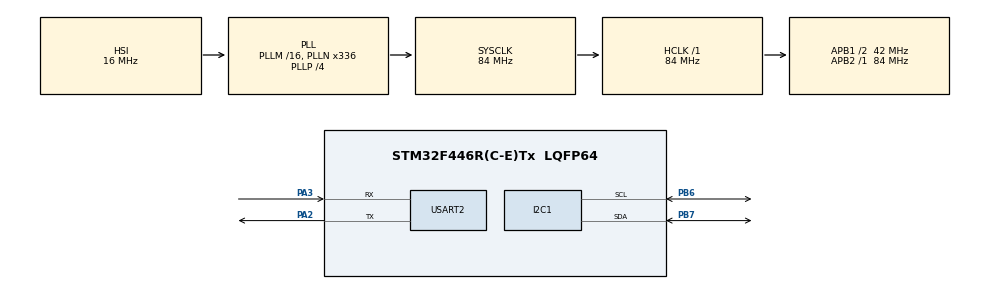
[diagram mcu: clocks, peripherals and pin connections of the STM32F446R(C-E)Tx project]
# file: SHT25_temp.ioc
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Mcu.Family=STM32F4
Mcu.Name=STM32F446R(C-E)Tx
Mcu.Package=LQFP64
NVIC.PriorityGroup=NVIC_PRIORITYGROUP_0
PA2.Mode=Asynchronous
PA2.Signal=USART2_TX
PA3.Mode=Asynchronous
PA3.Signal=USART2_RX
PB6.Mode=I2C
PB6.Signal=I2C1_SCL
PB7.Mode=I2C
PB7.Signal=I2C1_SDA
ProjectManager.HeapSize=0x200
ProjectManager.StackSize=0x400
ProjectManager.TargetToolchain=STM32CubeIDE
RCC.48MHZClocksFreq_Value=84000000
RCC.AHBFreq_Value=84000000
RCC.APB1CLKDivider=RCC_HCLK_DIV2
RCC.APB1Freq_Value=42000000
RCC.APB1TimFreq_Value=84000000
RCC.APB2Freq_Value=84000000
RCC.APB2TimFreq_Value=84000000
RCC.CortexFreq_Value=84000000
RCC.FLatency-AdvancedSettings=FLASH_LATENCY_2
RCC.HCLKFreq_Value=84000000
RCC.HSE_VALUE=8000000
RCC.HSI_VALUE=16000000
RCC.PLLN=336
RCC.PLLP=RCC_PLLP_DIV4
RCC.SYSCLKFreq_VALUE=84000000
RCC.SYSCLKSource=RCC_SYSCLKSOURCE_PLLCLK
RCC.USBFreq_Value=168000000
RCC.VCOOutputFreq_Value=336000000
USART2.VirtualMode=VM_ASYNC
board=NUCLEO-F446RE

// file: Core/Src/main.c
/* USER CODE BEGIN Header */
/**
  **************************
  * @file           : main.c
  * @brief          : Main program body
  **************************
  * @attention
  *
  * Copyright (c) 2024 STMicroelectronics.
  * All rights reserved.
  *
  * This software is licensed under terms that can be found in the LICENSE file
  * in the root directory of this software component.
  * If no LICENSE file comes with this software, it is provided AS-IS.
  *
  **************************
  */
/* USER CODE END Header */
#include "main.h"
#include <stdio.h>
#include <math.h>
/* USER CODE BEGIN Includes */
#define SHT25_I2C_ADDRESS (0x40 << 1)
#define SHT25_CMD_READ_TEMP_NOHOLD  0xF3
#define SHT25_CMD_READ_HUM_NOHOLD   0xF5
/* USER CODE END Includes */

/* USER CODE BEGIN PTD */
float read_temperature();
float read_humidity();
/* USER CODE END PTD */

I2C_HandleTypeDef hi2c1;

UART_HandleTypeDef huart2;

void SystemClock_Config(void);
static void MX_GPIO_Init(void);
static void MX_USART2_UART_Init(void);
static void MX_I2C1_Init(void);

int main(void)
{

  /* MCU Configuration--------------------------------------------------------*/

  /* Reset of all peripherals, Initializes the Flash interface and the Systick. */
  HAL_Init();

  /* Configure the system clock */
  SystemClock_Config();

  /* Initialize all configured peripherals */
  MX_GPIO_Init();
  MX_USART2_UART_Init();
  MX_I2C1_Init();
  /* USER CODE BEGIN 2 */
  setvbuf(stdout, NULL, _IOLBF, 0);  // Enable line buffering for stdout

  /* Infinite loop */

  /* USER CODE END 2 */

  /* Infinite loop */
  while (1)
  {

    /* USER CODE BEGIN 3 */
	  uint8_t cmd;
	        uint8_t data[2];
	        uint16_t raw_value;
	        float temperature, humidity;

	        // Read temperature
	        cmd = SHT25_CMD_READ_TEMP_NOHOLD;
	        HAL_I2C_Master_Transmit(&hi2c1, SHT25_I2C_ADDRESS, &cmd, 1, HAL_MAX_DELAY);
	        HAL_Delay(50); // Delay to allow sensor to perform the measurement
	        HAL_I2C_Master_Receive(&hi2c1, SHT25_I2C_ADDRESS, data, 2, HAL_MAX_DELAY);
	        raw_value = (data[0] << 8) | data[1];
	        temperature = -46.85 + 175.72 * (raw_value / 65536.0);

	        // Read humidity
	        cmd = SHT25_CMD_READ_HUM_NOHOLD;
	        HAL_I2C_Master_Transmit(&hi2c1, SHT25_I2C_ADDRESS, &cmd, 1, HAL_MAX_DELAY);
	        HAL_Delay(50); // Delay to allow sensor to perform the measurement
	        HAL_I2C_Master_Receive(&hi2c1, SHT25_I2C_ADDRESS, data, 2, HAL_MAX_DELAY);
	        raw_value = (data[0] << 8) | data[1];
	        humidity = -6.0 + 125.0 * (raw_value / 65536.0);

	        // Transmit the results over UART
	        char buffer[100];
	        sprintf(buffer, "Temperature: %.2f°C\r\n", temperature);
	        HAL_UART_Transmit(&huart2, (uint8_t*)buffer, strlen(buffer), 1000);
	        HAL_Delay(1000);  // Delay to allow readability

	        sprintf(buffer, "Humidity: %.2f%%\r\n", humidity);
	        HAL_UART_Transmit(&huart2, (uint8_t*)buffer, strlen(buffer), 1000);
	        HAL_Delay(1000);  // Delay to allow readability
  }
  /* USER CODE END 3 */
}

void SystemClock_Config(void)
{
  RCC_OscInitTypeDef RCC_OscInitStruct = {0};
  RCC_ClkInitTypeDef RCC_ClkInitStruct = {0};

  /** Configure the main internal regulator output voltage
  */
  __HAL_RCC_PWR_CLK_ENABLE();
  __HAL_PWR_VOLTAGESCALING_CONFIG(PWR_REGULATOR_VOLTAGE_SCALE3);

  /** Initializes the RCC Oscillators according to the specified parameters
  * in the RCC_OscInitTypeDef structure.
  */
  RCC_OscInitStruct.OscillatorType = RCC_OSCILLATORTYPE_HSI;
  RCC_OscInitStruct.HSIState = RCC_HSI_ON;
  RCC_OscInitStruct.HSICalibrationValue = RCC_HSICALIBRATION_DEFAULT;
  RCC_OscInitStruct.PLL.PLLState = RCC_PLL_ON;
  RCC_OscInitStruct.PLL.PLLSource = RCC_PLLSOURCE_HSI;
  RCC_OscInitStruct.PLL.PLLM = 16;
  RCC_OscInitStruct.PLL.PLLN = 336;
  RCC_OscInitStruct.PLL.PLLP = RCC_PLLP_DIV4;
  RCC_OscInitStruct.PLL.PLLQ = 2;
  RCC_OscInitStruct.PLL.PLLR = 2;
  if (HAL_RCC_OscConfig(&RCC_OscInitStruct) != HAL_OK)
  {
    Error_Handler();
  }

  /** Initializes the CPU, AHB and APB buses clocks
  */
  RCC_ClkInitStruct.ClockType = RCC_CLOCKTYPE_HCLK|RCC_CLOCKTYPE_SYSCLK
                              |RCC_CLOCKTYPE_PCLK1|RCC_CLOCKTYPE_PCLK2;
  RCC_ClkInitStruct.SYSCLKSource = RCC_SYSCLKSOURCE_PLLCLK;
  RCC_ClkInitStruct.AHBCLKDivider = RCC_SYSCLK_DIV1;
  RCC_ClkInitStruct.APB1CLKDivider = RCC_HCLK_DIV2;
  RCC_ClkInitStruct.APB2CLKDivider = RCC_HCLK_DIV1;

  if (HAL_RCC_ClockConfig(&RCC_ClkInitStruct, FLASH_LATENCY_2) != HAL_OK)
  {
    Error_Handler();
  }
}

static void MX_I2C1_Init(void)
{

  hi2c1.Instance = I2C1;
  hi2c1.Init.ClockSpeed = 100000;
  hi2c1.Init.DutyCycle = I2C_DUTYCYCLE_2;
  hi2c1.Init.OwnAddress1 = 0;
  hi2c1.Init.AddressingMode = I2C_ADDRESSINGMODE_7BIT;
  hi2c1.Init.DualAddressMode = I2C_DUALADDRESS_DISABLE;
  hi2c1.Init.OwnAddress2 = 0;
  hi2c1.Init.GeneralCallMode = I2C_GENERALCALL_DISABLE;
  hi2c1.Init.NoStretchMode = I2C_NOSTRETCH_DISABLE;
  if (HAL_I2C_Init(&hi2c1) != HAL_OK)
  {
    Error_Handler();
  }

}

static void MX_USART2_UART_Init(void)
{

  huart2.Instance = USART2;
  huart2.Init.BaudRate = 115200;
  huart2.Init.WordLength = UART_WORDLENGTH_8B;
  huart2.Init.StopBits = UART_STOPBITS_1;
  huart2.Init.Parity = UART_PARITY_NONE;
  huart2.Init.Mode = UART_MODE_TX_RX;
  huart2.Init.HwFlowCtl = UART_HWCONTROL_NONE;
  huart2.Init.OverSampling = UART_OVERSAMPLING_16;
  if (HAL_UART_Init(&huart2) != HAL_OK)
  {
    Error_Handler();
  }

}

static void MX_GPIO_Init(void)
{

  /* GPIO Ports Clock Enable */
  __HAL_RCC_GPIOA_CLK_ENABLE();
  __HAL_RCC_GPIOB_CLK_ENABLE();

}

void Error_Handler(void)
{
  __disable_irq();
  while (1)
  {
  }
}
